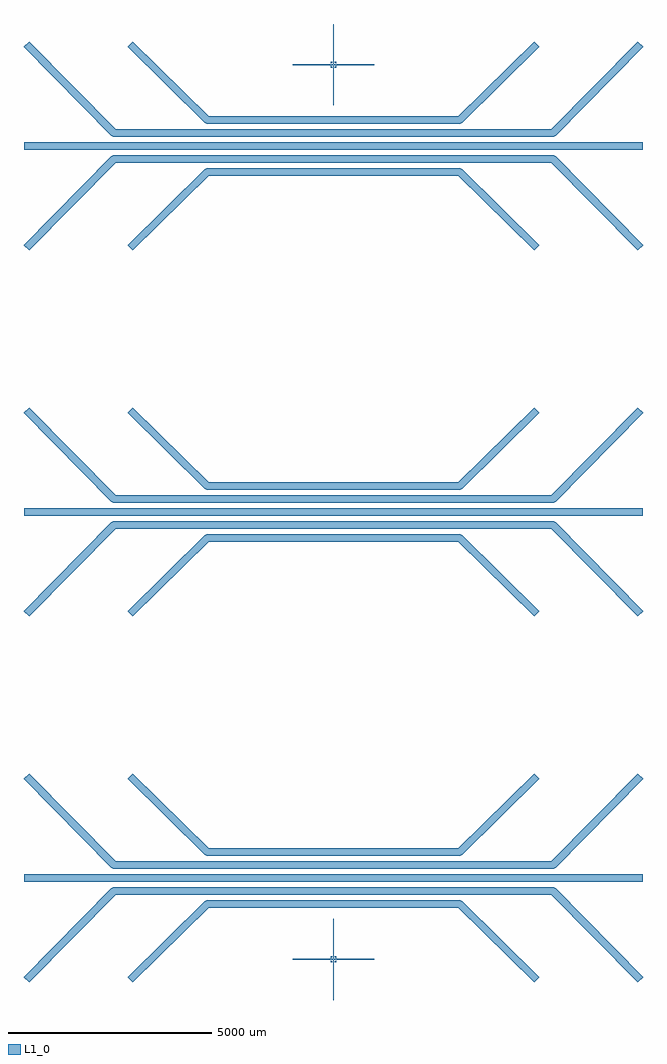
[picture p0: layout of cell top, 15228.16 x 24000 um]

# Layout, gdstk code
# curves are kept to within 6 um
import gdstk
lib = gdstk.Library(unit=1e-6, precision=1e-09)
def R(c, l, rs):  # rectangles x0, y0, x1, y1
    for r in rs: c.add(gdstk.rectangle(r[:2], r[2:], *l))
def A(c, l, x, y, w, h, nx, ny, dx, dy):  # array of equal rectangles
    R(c, l, [(x+i*dx, y+j*dy, x+i*dx+w, y+j*dy+h) for i in range(nx) for j in range(ny)])
def P(c, l, *ps):  # polygons
    for p in ps: c.add(gdstk.Polygon(p, *l))
L1_0 = (1, 0)

top = lib.new_cell('top')
A(top, L1_0, -7600, -9090, 15200, 180, 1, 3, 0, 9000)
R(top, L1_0, [(-3100,-9730,3100,-9550), (-5400,-9410,5400,-9230), (-5400,-8770,5400,-8590), (-3100,-8450,3100,-8270), (-3100,-730,3100,-550), (-5400,-410,5400,-230), (-5400,230,5400,410), (-3100,550,3100,730), (-3100,8270,3100,8450), (-5400,8590,5400,8770), (-5400,9230,5400,9410), (-3100,9550,3100,9730)])
P(top, L1_0, [(-70,-11070),(-70,-11030),(-50,-11030),(-50,-11050),(-30,-11050),(-30,-11070)],
  [(30,-11070),(30,-11050),(50,-11050),(50,-11030),(70,-11030),(70,-11070)],
  [(-70,-10970),(-70,-10930),(-30,-10930),(-30,-10950),(-50,-10950),(-50,-10970)],
  [(50,-10970),(50,-10950),(30,-10950),(30,-10930),(70,-10930),(70,-10970)],
  [(-10,-12000),(-10,-11010),(-1000,-11010),(-1000,-10990),(-10,-10990),(-10,-10000),(10,-10000),(10,-10990),(1000,-10990),(1000,-11010),(10,-11010),(10,-12000)],
  [(-70,10930),(-70,10970),(-50,10970),(-50,10950),(-30,10950),(-30,10930)],
  [(30,10930),(30,10950),(50,10950),(50,10970),(70,10970),(70,10930)],
  [(-70,11030),(-70,11070),(-30,11070),(-30,11050),(-50,11050),(-50,11030)],
  [(50,11030),(50,11050),(30,11050),(30,11070),(70,11070),(70,11030)],
  [(-10,10000),(-10,10990),(-1000,10990),(-1000,11010),(-10,11010),(-10,12000),(10,12000),(10,11010),(1000,11010),(1000,10990),(10,10990),(10,10000)],
  [(-5404.421,8590),(-5438.526,8598.543),(-5466.766,8619.487),(-5484.841,8649.643),(-5490,8684.421),(-5481.457,8718.526),(-5460.513,8746.766),(-5430.357,8764.841),(-5395.579,8770),(-5361.474,8761.457),(-5333.234,8740.513),(-5315.159,8710.357),(-5310,8675.579),(-5318.543,8641.474),(-5339.487,8613.234),(-5369.643,8595.159)],
  [(-3104.421,8270),(-3138.526,8278.543),(-3166.766,8299.487),(-3184.841,8329.643),(-3190,8364.421),(-3181.457,8398.526),(-3160.513,8426.766),(-3130.357,8444.841),(-3095.579,8450),(-3061.474,8441.457),(-3033.234,8420.513),(-3015.159,8390.357),(-3010,8355.579),(-3018.543,8321.474),(-3039.487,8293.234),(-3069.643,8275.159)],
  [(-5404.421,9230),(-5438.526,9238.543),(-5466.766,9259.487),(-5484.841,9289.643),(-5490,9324.421),(-5481.457,9358.526),(-5460.513,9386.766),(-5430.357,9404.841),(-5395.579,9410),(-5361.474,9401.457),(-5333.234,9380.513),(-5315.159,9350.357),(-5310,9315.579),(-5318.543,9281.474),(-5339.487,9253.234),(-5369.643,9235.159)],
  [(-3104.421,9550),(-3138.526,9558.543),(-3166.766,9579.487),(-3184.841,9609.643),(-3190,9644.421),(-3181.457,9678.526),(-3160.513,9706.766),(-3130.357,9724.841),(-3095.579,9730),(-3061.474,9721.457),(-3033.234,9700.513),(-3015.159,9670.357),(-3010,9635.579),(-3018.543,9601.474),(-3039.487,9573.234),(-3069.643,9555.159)],
  [(5395.579,8590),(5361.474,8598.543),(5333.234,8619.487),(5315.159,8649.643),(5310,8684.421),(5318.543,8718.526),(5339.487,8746.766),(5369.643,8764.841),(5404.421,8770),(5438.526,8761.457),(5466.766,8740.513),(5484.841,8710.357),(5490,8675.579),(5481.457,8641.474),(5460.513,8613.234),(5430.357,8595.159)],
  [(3095.579,8270),(3061.474,8278.543),(3033.234,8299.487),(3015.159,8329.643),(3010,8364.421),(3018.543,8398.526),(3039.487,8426.766),(3069.643,8444.841),(3104.421,8450),(3138.526,8441.457),(3166.766,8420.513),(3184.841,8390.357),(3190,8355.579),(3181.457,8321.474),(3160.513,8293.234),(3130.357,8275.159)],
  [(5395.579,9230),(5361.474,9238.543),(5333.234,9259.487),(5315.159,9289.643),(5310,9324.421),(5318.543,9358.526),(5339.487,9386.766),(5369.643,9404.841),(5404.421,9410),(5438.526,9401.457),(5466.766,9380.513),(5484.841,9350.357),(5490,9315.579),(5481.457,9281.474),(5460.513,9253.234),(5430.357,9235.159)],
  [(3095.579,9550),(3061.474,9558.543),(3033.234,9579.487),(3015.159,9609.643),(3010,9644.421),(3018.543,9678.526),(3039.487,9706.766),(3069.643,9724.841),(3104.421,9730),(3138.526,9721.457),(3166.766,9700.513),(3184.841,9670.357),(3190,9635.579),(3181.457,9601.474),(3160.513,9573.234),(3130.357,9555.159)],
  [(5395.579,-410),(5361.474,-401.457),(5333.234,-380.513),(5315.159,-350.357),(5310,-315.579),(5318.543,-281.474),(5339.487,-253.234),(5369.643,-235.159),(5404.421,-230),(5438.526,-238.543),(5466.766,-259.487),(5484.841,-289.643),(5490,-324.421),(5481.457,-358.526),(5460.513,-386.766),(5430.357,-404.841)],
  [(3095.579,-730),(3061.474,-721.457),(3033.234,-700.513),(3015.159,-670.357),(3010,-635.579),(3018.543,-601.474),(3039.487,-573.234),(3069.643,-555.159),(3104.421,-550),(3138.526,-558.543),(3166.766,-579.487),(3184.841,-609.643),(3190,-644.421),(3181.457,-678.526),(3160.513,-706.766),(3130.357,-724.841)],
  [(5395.579,230),(5361.474,238.543),(5333.234,259.487),(5315.159,289.643),(5310,324.421),(5318.543,358.526),(5339.487,386.766),(5369.643,404.841),(5404.421,410),(5438.526,401.457),(5466.766,380.513),(5484.841,350.357),(5490,315.579),(5481.457,281.474),(5460.513,253.234),(5430.357,235.159)],
  [(3095.579,550),(3061.474,558.543),(3033.234,579.487),(3015.159,609.643),(3010,644.421),(3018.543,678.526),(3039.487,706.766),(3069.643,724.841),(3104.421,730),(3138.526,721.457),(3166.766,700.513),(3184.841,670.357),(3190,635.579),(3181.457,601.474),(3160.513,573.234),(3130.357,555.159)],
  [(-5404.421,-410),(-5438.526,-401.457),(-5466.766,-380.513),(-5484.841,-350.357),(-5490,-315.579),(-5481.457,-281.474),(-5460.513,-253.234),(-5430.357,-235.159),(-5395.579,-230),(-5361.474,-238.543),(-5333.234,-259.487),(-5315.159,-289.643),(-5310,-324.421),(-5318.543,-358.526),(-5339.487,-386.766),(-5369.643,-404.841)],
  [(-3104.421,-730),(-3138.526,-721.457),(-3166.766,-700.513),(-3184.841,-670.357),(-3190,-635.579),(-3181.457,-601.474),(-3160.513,-573.234),(-3130.357,-555.159),(-3095.579,-550),(-3061.474,-558.543),(-3033.234,-579.487),(-3015.159,-609.643),(-3010,-644.421),(-3018.543,-678.526),(-3039.487,-706.766),(-3069.643,-724.841)],
  [(-5404.421,230),(-5438.526,238.543),(-5466.766,259.487),(-5484.841,289.643),(-5490,324.421),(-5481.457,358.526),(-5460.513,386.766),(-5430.357,404.841),(-5395.579,410),(-5361.474,401.457),(-5333.234,380.513),(-5315.159,350.357),(-5310,315.579),(-5318.543,281.474),(-5339.487,253.234),(-5369.643,235.159)],
  [(-3104.421,550),(-3138.526,558.543),(-3166.766,579.487),(-3184.841,609.643),(-3190,644.421),(-3181.457,678.526),(-3160.513,706.766),(-3130.357,724.841),(-3095.579,730),(-3061.474,721.457),(-3033.234,700.513),(-3015.159,670.357),(-3010,635.579),(-3018.543,601.474),(-3039.487,573.234),(-3069.643,555.159)],
  [(-5404.421,-9410),(-5438.526,-9401.457),(-5466.766,-9380.513),(-5484.841,-9350.357),(-5490,-9315.579),(-5481.457,-9281.474),(-5460.513,-9253.234),(-5430.357,-9235.159),(-5395.579,-9230),(-5361.474,-9238.543),(-5333.234,-9259.487),(-5315.159,-9289.643),(-5310,-9324.421),(-5318.543,-9358.526),(-5339.487,-9386.766),(-5369.643,-9404.841)],
  [(-3104.421,-9730),(-3138.526,-9721.457),(-3166.766,-9700.513),(-3184.841,-9670.357),(-3190,-9635.579),(-3181.457,-9601.474),(-3160.513,-9573.234),(-3130.357,-9555.159),(-3095.579,-9550),(-3061.474,-9558.543),(-3033.234,-9579.487),(-3015.159,-9609.643),(-3010,-9644.421),(-3018.543,-9678.526),(-3039.487,-9706.766),(-3069.643,-9724.841)],
  [(5395.579,-9410),(5361.474,-9401.457),(5333.234,-9380.513),(5315.159,-9350.357),(5310,-9315.579),(5318.543,-9281.474),(5339.487,-9253.234),(5369.643,-9235.159),(5404.421,-9230),(5438.526,-9238.543),(5466.766,-9259.487),(5484.841,-9289.643),(5490,-9324.421),(5481.457,-9358.526),(5460.513,-9386.766),(5430.357,-9404.841)],
  [(3095.579,-9730),(3061.474,-9721.457),(3033.234,-9700.513),(3015.159,-9670.357),(3010,-9635.579),(3018.543,-9601.474),(3039.487,-9573.234),(3069.643,-9555.159),(3104.421,-9550),(3138.526,-9558.543),(3166.766,-9579.487),(3184.841,-9609.643),(3190,-9644.421),(3181.457,-9678.526),(3160.513,-9706.766),(3130.357,-9724.841)],
  [(-5404.421,-8770),(-5438.526,-8761.457),(-5466.766,-8740.513),(-5484.841,-8710.357),(-5490,-8675.579),(-5481.457,-8641.474),(-5460.513,-8613.234),(-5430.357,-8595.159),(-5395.579,-8590),(-5361.474,-8598.543),(-5333.234,-8619.487),(-5315.159,-8649.643),(-5310,-8684.421),(-5318.543,-8718.526),(-5339.487,-8746.766),(-5369.643,-8764.841)],
  [(-3104.421,-8450),(-3138.526,-8441.457),(-3166.766,-8420.513),(-3184.841,-8390.357),(-3190,-8355.579),(-3181.457,-8321.474),(-3160.513,-8293.234),(-3130.357,-8275.159),(-3095.579,-8270),(-3061.474,-8278.543),(-3033.234,-8299.487),(-3015.159,-8329.643),(-3010,-8364.421),(-3018.543,-8398.526),(-3039.487,-8426.766),(-3069.643,-8444.841)],
  [(5395.579,-8770),(5361.474,-8761.457),(5333.234,-8740.513),(5315.159,-8710.357),(5310,-8675.579),(5318.543,-8641.474),(5339.487,-8613.234),(5369.643,-8595.159),(5404.421,-8590),(5438.526,-8598.543),(5466.766,-8619.487),(5484.841,-8649.643),(5490,-8684.421),(5481.457,-8718.526),(5460.513,-8746.766),(5430.357,-8764.841)],
  [(3095.579,-8450),(3061.474,-8441.457),(3033.234,-8420.513),(3015.159,-8390.357),(3010,-8355.579),(3018.543,-8321.474),(3039.487,-8293.234),(3069.643,-8275.159),(3104.421,-8270),(3138.526,-8278.543),(3166.766,-8299.487),(3184.841,-8329.643),(3190,-8364.421),(3181.457,-8398.526),(3160.513,-8426.766),(3130.357,-8444.841)])
top.add(gdstk.FlexPath([(-7600,0),(7600,0)], 180, ends="flush", simple_path=True, layer=1, datatype=0))  # L1_0
top.add(gdstk.FlexPath([(-7550,2500),(-5400,320)], 180, ends="flush", simple_path=True, layer=1, datatype=0))  # L1_0
top.add(gdstk.FlexPath([(-5000,2500),(-3100,640)], 180, ends="flush", simple_path=True, layer=1, datatype=0))  # L1_0
top.add(gdstk.FlexPath([(7550,2500),(5400,320)], 180, ends="flush", simple_path=True, layer=1, datatype=0))  # L1_0
top.add(gdstk.FlexPath([(5000,2500),(3100,640)], 180, ends="flush", simple_path=True, layer=1, datatype=0))  # L1_0
top.add(gdstk.FlexPath([(-7550,-2500),(-5400,-320)], 180, ends="flush", simple_path=True, layer=1, datatype=0))  # L1_0
top.add(gdstk.FlexPath([(-5000,-2500),(-3100,-640)], 180, ends="flush", simple_path=True, layer=1, datatype=0))  # L1_0
top.add(gdstk.FlexPath([(7550,-2500),(5400,-320)], 180, ends="flush", simple_path=True, layer=1, datatype=0))  # L1_0
top.add(gdstk.FlexPath([(5000,-2500),(3100,-640)], 180, ends="flush", simple_path=True, layer=1, datatype=0))  # L1_0
top.add(gdstk.FlexPath([(-7600,9000),(7600,9000)], 180, ends="flush", simple_path=True, layer=1, datatype=0))  # L1_0
top.add(gdstk.FlexPath([(-7600,9000),(7600,9000)], 180, ends="flush", simple_path=True, layer=1, datatype=0))  # L1_0
top.add(gdstk.FlexPath([(-7550,11500),(-5400,9320)], 180, ends="flush", simple_path=True, layer=1, datatype=0))  # L1_0
top.add(gdstk.FlexPath([(-5000,11500),(-3100,9640)], 180, ends="flush", simple_path=True, layer=1, datatype=0))  # L1_0
top.add(gdstk.FlexPath([(7550,11500),(5400,9320)], 180, ends="flush", simple_path=True, layer=1, datatype=0))  # L1_0
top.add(gdstk.FlexPath([(5000,11500),(3100,9640)], 180, ends="flush", simple_path=True, layer=1, datatype=0))  # L1_0
top.add(gdstk.FlexPath([(-7550,6500),(-5400,8680)], 180, ends="flush", simple_path=True, layer=1, datatype=0))  # L1_0
top.add(gdstk.FlexPath([(-5000,6500),(-3100,8360)], 180, ends="flush", simple_path=True, layer=1, datatype=0))  # L1_0
top.add(gdstk.FlexPath([(7550,6500),(5400,8680)], 180, ends="flush", simple_path=True, layer=1, datatype=0))  # L1_0
top.add(gdstk.FlexPath([(5000,6500),(3100,8360)], 180, ends="flush", simple_path=True, layer=1, datatype=0))  # L1_0
top.add(gdstk.FlexPath([(-7600,-9000),(7600,-9000)], 180, ends="flush", simple_path=True, layer=1, datatype=0))  # L1_0
top.add(gdstk.FlexPath([(-7550,-6500),(-5400,-8680)], 180, ends="flush", simple_path=True, layer=1, datatype=0))  # L1_0
top.add(gdstk.FlexPath([(-5000,-6500),(-3100,-8360)], 180, ends="flush", simple_path=True, layer=1, datatype=0))  # L1_0
top.add(gdstk.FlexPath([(7550,-6500),(5400,-8680)], 180, ends="flush", simple_path=True, layer=1, datatype=0))  # L1_0
top.add(gdstk.FlexPath([(5000,-6500),(3100,-8360)], 180, ends="flush", simple_path=True, layer=1, datatype=0))  # L1_0
top.add(gdstk.FlexPath([(-7550,-11500),(-5400,-9320)], 180, ends="flush", simple_path=True, layer=1, datatype=0))  # L1_0
top.add(gdstk.FlexPath([(-5000,-11500),(-3100,-9640)], 180, ends="flush", simple_path=True, layer=1, datatype=0))  # L1_0
top.add(gdstk.FlexPath([(7550,-11500),(5400,-9320)], 180, ends="flush", simple_path=True, layer=1, datatype=0))  # L1_0
top.add(gdstk.FlexPath([(5000,-11500),(3100,-9640)], 180, ends="flush", simple_path=True, layer=1, datatype=0))  # L1_0

lib.write_gds('top.gds')
